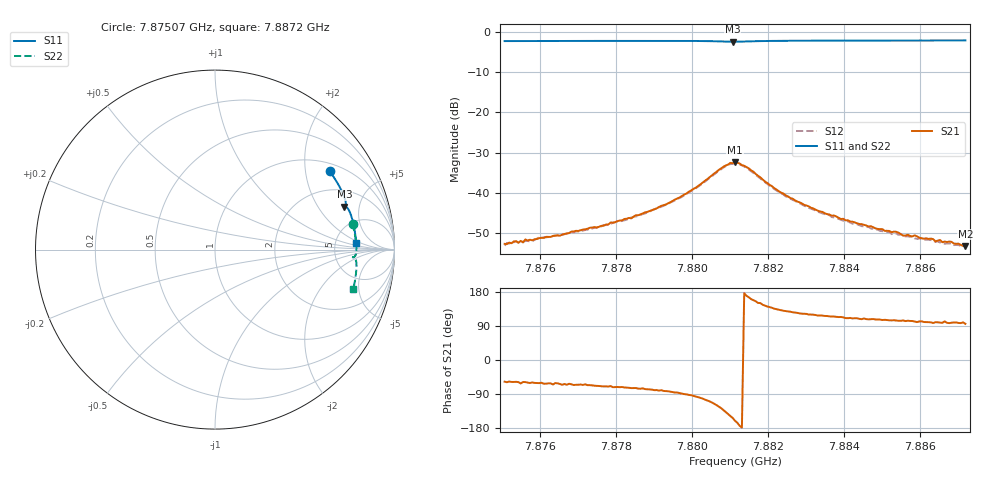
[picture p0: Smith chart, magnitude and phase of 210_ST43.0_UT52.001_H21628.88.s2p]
#  HZ  S  DB  R  50.00
! Rohde & Schwarz Vector Network Analyzer
! Rohde-Schwarz,ZNB20-2Port,1311601062101988,3.16
! Created: UTC 1/12/2023, 6:45:01 PM
! freq[Hz]  db:S11  ang:S11  db:S21  ang:S21  db:S12  ang:S12  db:S22  ang:S22
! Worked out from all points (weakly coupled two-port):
!   201 points, 7.87507 GHz to 7.8872 GHz, reference 50 ohm
!   highest |S21| = -32.42 dB at 7.88114 GHz (marker M1); lowest = -53.3 dB at 7.8872 GHz (marker M2)
!   lowest |S11| = -2.4 dB at 7.88108 GHz (marker M3), VSWR 7.32, Z = 157 + j177 ohm
!   |S11| at or under -10 dB: nowhere
!   |S22| runs from -2.3 to -1.9 dB; largest |S21 - S12| = 0.0021
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7.875071e9  -2.23 34.3  -52.74 -57.2  -53.18 -60.4  -2.16 10.5
7.875131e9  -2.23 34.1  -52.79 -58.7  -52.50 -59.8  -2.17 10.3
7.875313e9  -2.23 33.7  -52.12 -57.9  -52.33 -63.8  -2.16 9.9
7.875556e9  -2.22 33.0  -52.38 -58.1  -52.14 -63.9  -2.16 9.3
7.875616e9  -2.22 32.8  -51.64 -58.3  -52.04 -60.0  -2.14 9.2
7.875798e9  -2.22 32.3  -51.85 -59.3  -52.08 -61.9  -2.15 8.8
7.87598e9  -2.22 31.8  -51.32 -61.0  -51.08 -64.6  -2.14 8.3
7.877133e9  -2.20 28.7  -49.17 -65.8  -49.45 -70.0  -2.11 5.6
7.878406e9  -2.18 25.2  -46.38 -74.2  -46.18 -77.7  -2.08 2.7
7.879134e9  -2.18 23.2  -43.56 -80.8  -43.70 -83.3  -2.07 0.9
7.879741e9  -2.19 21.4  -40.79 -88.9  -41.00 -92.2  -2.08 -0.6
7.880833e9  -2.34 18.5  -33.51 -132.2  -33.74 -135.7  -2.23 -3.2
7.881075e9  -2.39 18.3  -32.66 -153.0  -32.78 -158.0  -2.28 -3.2
7.881136e9  -2.39 18.4  -32.42 -160.5  -32.75 -164.3  -2.28 -3.2
7.881439e9  -2.33 18.2  -33.63 169.4  -33.83 167.2  -2.22 -3.1
7.882288e9  -2.17 16.0  -39.64 132.8  -39.82 129.5  -2.05 -4.9
7.883198e9  -2.13 13.4  -43.91 119.7  -44.20 115.2  -2.00 -7.1
7.884229e9  -2.12 10.6  -47.22 109.7  -47.71 107.4  -1.98 -9.5
7.8852e9  -2.10 8.0  -49.52 104.7  -49.81 103.0  -1.95 -11.7
7.885564e9  -2.09 7.1  -50.69 104.3  -50.74 99.7  -1.95 -12.4
7.885867e9  -2.09 6.3  -50.60 101.3  -51.35 99.4  -1.94 -13.1
7.887201e9  -2.08 2.8  -53.25 95.4  -53.31 92.1  -1.93 -16.0
